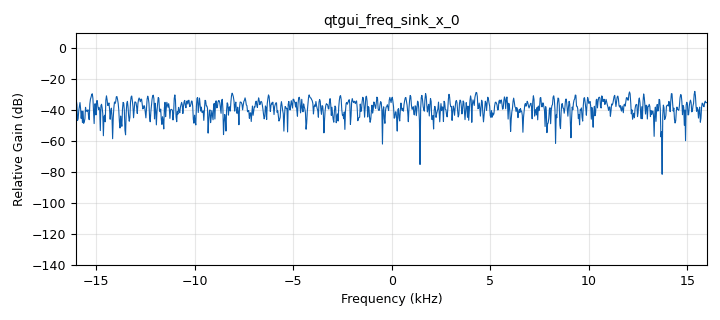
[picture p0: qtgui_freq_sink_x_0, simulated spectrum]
options:
  parameters:
    generate_options: qt_gui
    id: jammer
    output_language: python
  states: {}

blocks:
- name: samp_rate
  id: variable
  parameters:
    value: '32000'
  states: {}
- name: target_freq
  id: variable
  parameters:
    value: 2.416e9
  states: {}
- name: analog_noise_source_x_0
  id: analog_noise_source_x
  parameters:
    amp: '1'
    noise_type: analog.GR_GAUSSIAN
    seed: '0'
    type: complex
  states: {}
- name: osmosdr_sink_0
  id: osmosdr_sink
  parameters:
    args: ''
    bb_gain0: '20'
    bw0: 20e6
    freq0: target_freq
    gain0: '50'
    if_gain0: '20'
    sample_rate: samp_rate
    sync: sync
    type: fc32
  states: {}
- name: qtgui_freq_sink_x_0
  id: qtgui_freq_sink_x
  parameters:
    bw: samp_rate
    fc: '0'
    fftsize: '1024'
    type: complex
  states: {}
- name: wxgui_fftsink2_0
  id: wxgui_fftsink2
  parameters:
    average: 'False'
    avg_alpha: '0'
    baseband_freq: '0'
    fft_rate: '15'
    fft_size: '1024'
    freqvar: None
    peak_hold: 'False'
    ref_level: '0'
    ref_scale: '2.0'
    samp_rate: samp_rate
    title: FFT Plot
    type: complex
    win: None
    y_divs: '10'
    y_per_div: '10'
  states: {state: disabled}

connections:
- [analog_noise_source_x_0, '0', osmosdr_sink_0, '0']
- [analog_noise_source_x_0, '0', qtgui_freq_sink_x_0, '0']

metadata:
  file_format: 1
  grc_version: 3.10.7.0
